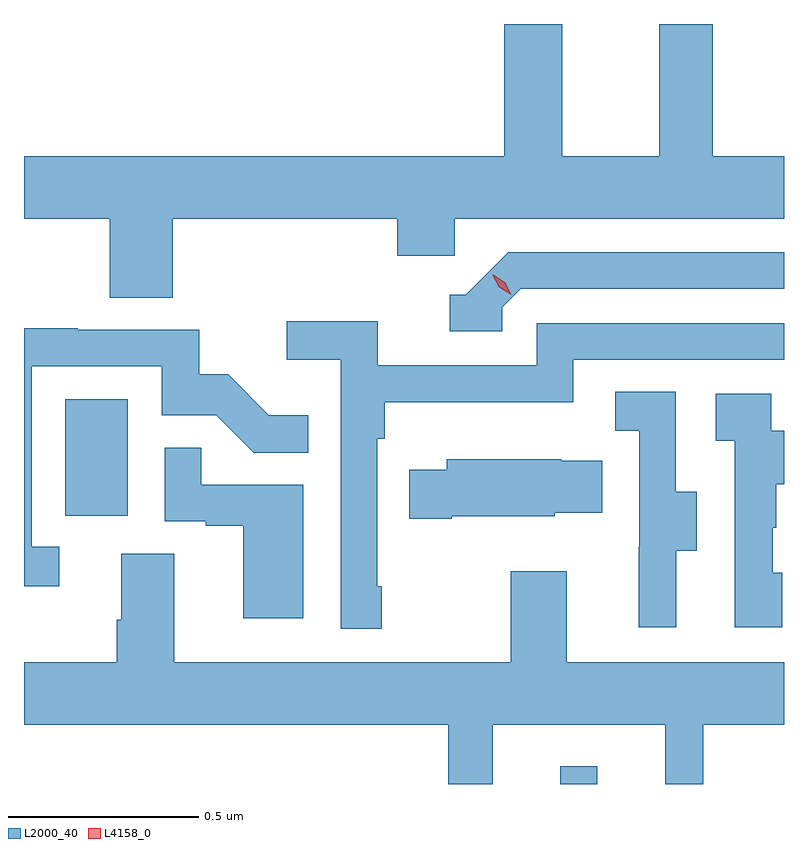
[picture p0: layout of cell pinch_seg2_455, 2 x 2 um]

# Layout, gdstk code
import gdstk
lib = gdstk.Library(unit=1e-6, precision=1e-09)
def R(c, l, rs):  # rectangles x0, y0, x1, y1
    for r in rs: c.add(gdstk.rectangle(r[:2], r[2:], *l))
def P(c, l, *ps):  # polygons
    for p in ps: c.add(gdstk.Polygon(p, *l))
L2000_40 = (2000, 40)
L4158_0 = (4158, 0)

pinch_seg2_455 = lib.new_cell('pinch_seg2_455')
R(pinch_seg2_455, L2000_40, [(907.658,608.852,907.755,608.899), (906.356,609.558,906.52,609.865)])
P(pinch_seg2_455, L2000_40, [(908.247,610.504),(908.059,610.504),(908.059,610.852),(907.919,610.852),(907.919,610.504),(907.663,610.504),(907.663,610.852),(907.511,610.852),(907.511,610.504),(906.247,610.504),(906.247,610.34),(906.473,610.34),(906.473,610.132),(906.638,610.132),(906.638,610.34),(907.229,610.34),(907.229,610.242),(907.38,610.242),(907.38,610.34),(908.247,610.34)],
  [(907.506,610.107),(907.554,610.155),(908.247,610.155),(908.247,610.251),(907.521,610.251),(907.41,610.14),(907.367,610.14),(907.367,610.044),(907.506,610.044)],
  [(907.189,609.373),(907.176,609.373),(907.176,609.761),(907.196,609.761),(907.196,609.857),(907.692,609.857),(907.692,609.969),(908.247,609.969),(908.247,610.065),(907.596,610.065),(907.596,609.954),(907.178,609.954),(907.178,610.07),(906.939,610.07),(906.939,609.968),(907.08,609.968),(907.08,609.261),(907.189,609.261)],
  [(906.34,609.477),(906.267,609.477),(906.267,609.951),(906.609,609.951),(906.609,609.822),(906.753,609.822),(906.851,609.724),(906.995,609.724),(906.995,609.823),(906.891,609.823),(906.784,609.93),(906.708,609.93),(906.708,610.047),(906.389,610.047),(906.389,610.052),(906.247,610.052),(906.247,609.372),(906.34,609.372)],
  [(907.963,609.466),(908.017,609.466),(908.017,609.621),(907.962,609.621),(907.962,609.884),(907.803,609.884),(907.803,609.781),(907.866,609.781),(907.866,609.477),(907.865,609.477),(907.865,609.264),(907.963,609.264)],
  [(908.242,609.408),(908.217,609.408),(908.217,609.527),(908.227,609.527),(908.227,609.641),(908.247,609.641),(908.247,609.781),(908.214,609.781),(908.214,609.879),(908.067,609.879),(908.067,609.755),(908.118,609.755),(908.118,609.264),(908.242,609.264)],
  [(906.982,609.639),(906.713,609.639),(906.713,609.737),(906.618,609.737),(906.618,609.543),(906.725,609.543),(906.725,609.531),(906.824,609.531),(906.824,609.288),(906.982,609.288)],
  [(907.372,609.557),(907.644,609.557),(907.644,609.566),(907.769,609.566),(907.769,609.703),(907.661,609.703),(907.661,609.706),(907.359,609.706),(907.359,609.679),(907.261,609.679),(907.261,609.55),(907.372,609.55)],
  [(907.675,609.412),(907.528,609.412),(907.528,609.172),(906.643,609.172),(906.643,609.458),(906.503,609.458),(906.503,609.284),(906.491,609.284),(906.491,609.172),(906.247,609.172),(906.247,609.008),(907.363,609.008),(907.363,608.852),(907.481,608.852),(907.481,609.008),(907.934,609.008),(907.934,608.852),(908.034,608.852),(908.034,609.008),(908.247,609.008),(908.247,609.172),(907.675,609.172)])
P(pinch_seg2_455, L4158_0, [(907.529,610.14),(907.498,610.159),(907.481,610.191),(907.481,610.192),(907.482,610.192),(907.512,610.172),(907.529,610.14),(907.529,610.14)])

lib.write_gds('pinch_seg2_455.gds')
